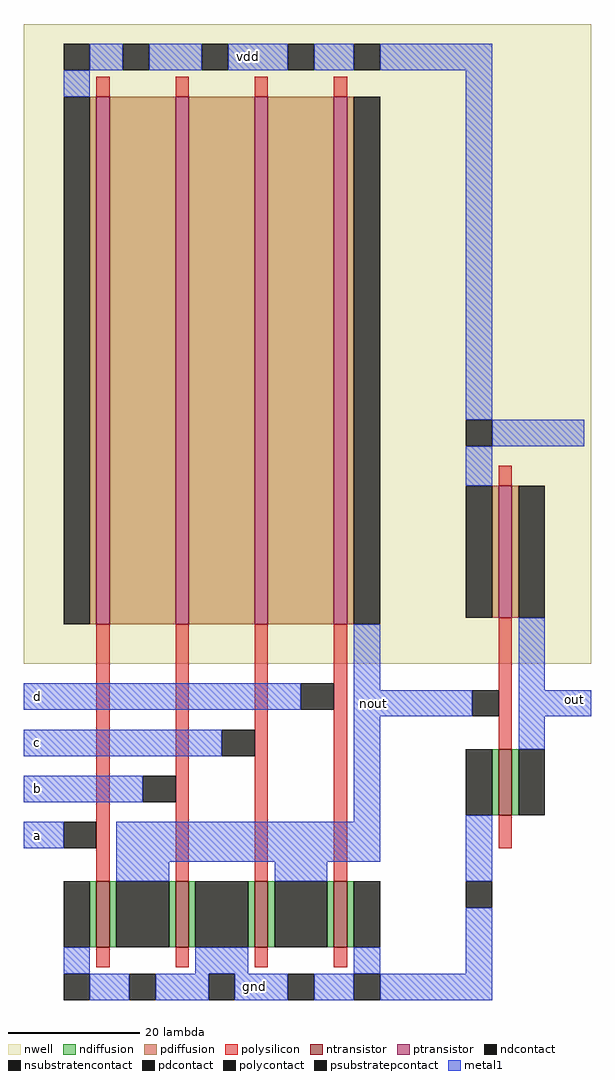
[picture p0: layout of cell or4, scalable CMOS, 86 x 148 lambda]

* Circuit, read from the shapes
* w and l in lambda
.subckt or4 a b c d gnd nout out vdd
M1 nout a gnd gnd nfet w=10 l=2
M2 gnd b nout gnd nfet w=10 l=2
M3 nout c gnd gnd nfet w=10 l=2
M4 gnd d nout gnd nfet w=10 l=2
M5 out nout gnd gnd nfet w=10 l=2
M6 n1 a vdd vdd pfet w=80 l=2
M7 n2 b n1 vdd pfet w=80 l=2
M8 n3 c n2 vdd pfet w=80 l=2
M9 nout d n3 vdd pfet w=80 l=2
M10 out nout vdd vdd pfet w=20 l=2
.ends

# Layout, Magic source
magic
tech scmos
<< nwell >>
rect -40 -18 46 79
<< ntransistor >>
rect 32 -41 34 -31
rect -29 -61 -27 -51
rect -17 -61 -15 -51
rect -5 -61 -3 -51
rect 7 -61 9 -51
<< ptransistor >>
rect -29 -12 -27 68
rect -17 -12 -15 68
rect -5 -12 -3 68
rect 7 -12 9 68
rect 32 -11 34 9
<< ndiffusion >>
rect 31 -41 32 -31
rect 34 -41 35 -31
rect -30 -61 -29 -51
rect -27 -61 -26 -51
rect -18 -61 -17 -51
rect -15 -61 -14 -51
rect -6 -61 -5 -51
rect -3 -61 -2 -51
rect 6 -61 7 -51
rect 9 -61 10 -51
<< pdiffusion >>
rect -30 -12 -29 68
rect -27 -12 -17 68
rect -15 -12 -5 68
rect -3 -12 7 68
rect 9 -12 10 68
rect 31 -11 32 9
rect 34 -11 35 9
<< ndcontact >>
rect 27 -41 31 -31
rect 35 -41 39 -31
rect -34 -61 -30 -51
rect -26 -61 -18 -51
rect -14 -61 -6 -51
rect -2 -61 6 -51
rect 10 -61 14 -51
<< pdcontact >>
rect -34 -12 -30 68
rect 10 -12 14 68
rect 27 -11 31 9
rect 35 -11 39 9
<< psubstratepcontact >>
rect 27 -55 31 -51
rect -34 -69 -30 -65
rect -24 -69 -20 -65
rect -12 -69 -8 -65
rect 0 -69 4 -65
rect 10 -69 14 -65
<< nsubstratencontact >>
rect -34 72 -30 76
rect -25 72 -21 76
rect -13 72 -9 76
rect 0 72 4 76
rect 10 72 14 76
rect 27 15 31 19
<< polysilicon >>
rect -29 68 -27 71
rect -17 68 -15 71
rect -5 68 -3 71
rect 7 68 9 71
rect 32 9 34 12
rect -29 -51 -27 -12
rect -17 -51 -15 -12
rect -5 -51 -3 -12
rect 7 -51 9 -12
rect 32 -31 34 -11
rect 32 -46 34 -41
rect -29 -64 -27 -61
rect -17 -64 -15 -61
rect -5 -64 -3 -61
rect 7 -64 9 -61
<< polycontact >>
rect -34 -46 -29 -42
rect -22 -39 -17 -35
rect -10 -32 -5 -28
rect 2 -25 7 -21
rect 28 -26 32 -22
<< metal1 >>
rect -30 72 -25 76
rect -21 72 -13 76
rect -9 72 0 76
rect 4 72 10 76
rect 14 72 31 76
rect -34 68 -30 72
rect 27 19 31 72
rect 31 15 45 19
rect 27 9 31 15
rect -40 -25 2 -21
rect 10 -22 14 -12
rect 35 -22 39 -11
rect 10 -26 28 -22
rect 35 -26 46 -22
rect -40 -32 -10 -28
rect -40 -39 -22 -35
rect 10 -42 14 -26
rect 35 -31 39 -26
rect -40 -46 -34 -42
rect -26 -48 14 -42
rect -26 -51 -18 -48
rect -2 -51 6 -48
rect 27 -51 31 -41
rect -34 -65 -30 -61
rect -14 -65 -6 -61
rect 10 -65 14 -61
rect 27 -65 31 -55
rect -30 -69 -24 -65
rect -20 -69 -12 -65
rect -8 -69 0 -65
rect 4 -69 10 -65
rect 14 -69 31 -65
<< labels >>
rlabel metal1 -39 -45 -37 -43 3 a
rlabel metal1 -39 -38 -37 -36 3 b
rlabel metal1 -39 -31 -37 -29 3 c
rlabel metal1 -39 -24 -37 -22 3 d
rlabel metal1 -7 73 -5 75 5 vdd
rlabel metal1 -6 -68 -4 -66 1 gnd
rlabel metal1 41 -24 46 -23 7 out
rlabel metal1 12 -25 14 -23 1 nout
<< end >>
